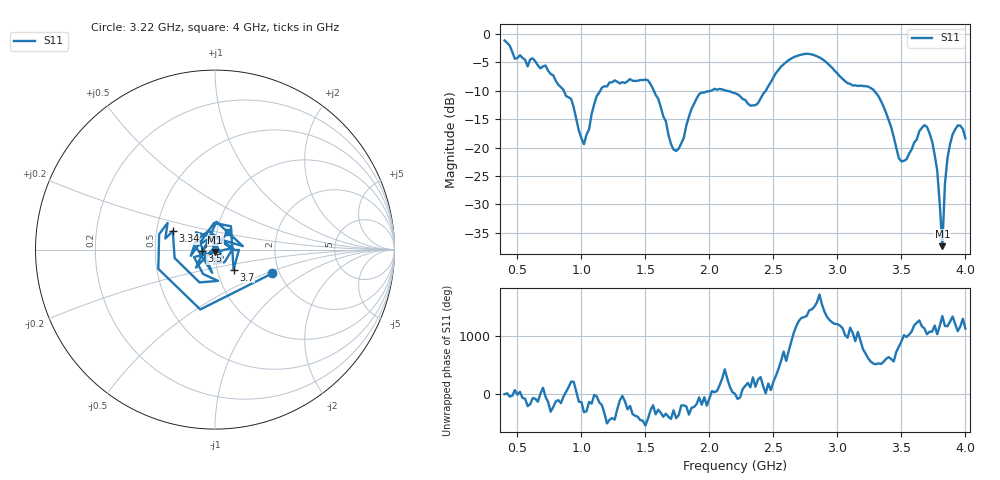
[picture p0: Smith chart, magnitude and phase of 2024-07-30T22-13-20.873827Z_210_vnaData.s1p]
!Created with skrf (http://scikit-rf.org).
# Hz S RI R 50.0
!freq ReS11 ImS11
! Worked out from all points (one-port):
!   181 points, 400 MHz to 4 GHz, reference 50 ohm
!   lowest |S11| = -37.3 dB at 3.82 GHz (marker M1), VSWR 1.03, Z = 50 - j1.36 ohm
!   |S11| at or under -10 dB: 1.566 GHz to 2.015 GHz (449.2 MHz wide, 25.1 % of centre); 2.13 GHz to 2.441 GHz (311 MHz wide, 13.6 % of centre); 3.287 GHz to end of sweep (the widest 3 of 4)
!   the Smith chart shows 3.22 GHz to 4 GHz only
!   S11 on the Smith chart (normalised r, x): 3.22 GHz: 1.83, -0.55; 3.34 GHz: 0.61, +0.14; 3.5 GHz: 0.86, -0.02; 3.7 GHz: 1.20, -0.27; 4 GHz: 1.13, +0.22
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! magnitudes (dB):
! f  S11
! 400 MHz  -1.2
! 480 MHz  -4.4
! 860 MHz  -9.9
! 920 MHz  -11.5
! 1.02 GHz  -19.4
! 1.12 GHz  -10.9
! 1.3 GHz  -8.7
! 1.52 GHz  -8.2
! 1.6 GHz  -11.4
! 1.7 GHz  -19.4
! 1.76 GHz  -20.2
! 1.92 GHz  -10.6
! 2.2 GHz  -10.5
! 2.36 GHz  -12.6
! 2.66 GHz  -4.1
! 2.86 GHz  -4.2
! 3.1 GHz  -8.8
! 3.22 GHz  -9.2
! 3.34 GHz  -11.8
! 3.5 GHz  -22.4
! 3.56 GHz  -21.1
! 3.7 GHz  -16.4
! 3.78 GHz  -24.1
! 3.82 GHz  -37.3
! 3.84 GHz  -26.4
! 3.88 GHz  -19.4
! 3.94 GHz  -16.1
! 4 GHz  -18.4
